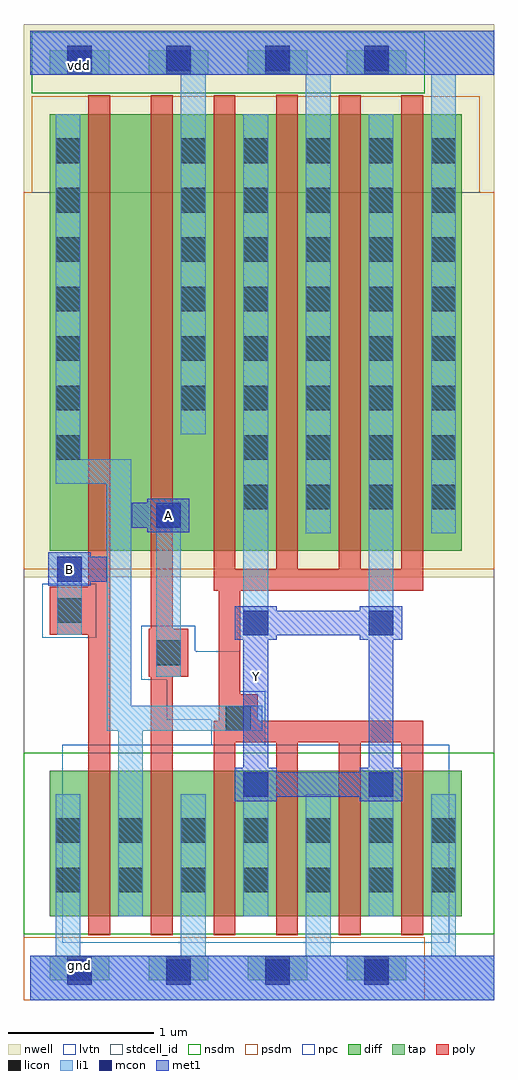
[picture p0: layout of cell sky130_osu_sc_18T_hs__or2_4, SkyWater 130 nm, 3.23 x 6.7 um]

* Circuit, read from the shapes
.subckt sky130_osu_sc_18T_hs__or2_4 A B Y gnd vdd
XM1 n1 B gnd gnd sky130_fd_pr__nfet_01v8_lvt w=1 l=0.15
XM2 gnd A n1 gnd sky130_fd_pr__nfet_01v8_lvt w=1 l=0.15
XM3 Y n1 gnd gnd sky130_fd_pr__nfet_01v8_lvt w=1 l=0.15 m=4
XM4 n2 B n1 vdd sky130_fd_pr__pfet_01v8 w=3 l=0.15
XM5 vdd A n2 vdd sky130_fd_pr__pfet_01v8 w=3 l=0.15
XM6 Y n1 vdd vdd sky130_fd_pr__pfet_01v8 w=3 l=0.15 m=4
.ends

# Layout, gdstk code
import gdstk
lib = gdstk.Library(unit=1e-6, precision=1e-09)
def R(c, l, rs):  # rectangles x0, y0, x1, y1
    for r in rs: c.add(gdstk.rectangle(r[:2], r[2:], *l))
def A(c, l, x, y, w, h, nx, ny, dx, dy):  # array of equal rectangles
    R(c, l, [(x+i*dx, y+j*dy, x+i*dx+w, y+j*dy+h) for i in range(nx) for j in range(ny)])
nwell = (64, 20)
diff = (65, 20)
tap = (65, 44)
poly = (66, 20)
licon = (66, 44)
li1 = (67, 20)
mcon = (67, 44)
met1 = (68, 20)
stdcell_id = (81, 4)
nsdm = (93, 44)
psdm = (94, 20)
npc = (95, 20)
lvtn = (125, 44)

sky130_osu_sc_18t_hs__or = lib.new_cell('sky130_osu_sc_18T_hs__or2_4')
R(sky130_osu_sc_18t_hs__or, nwell, [(-0.045,2.905,3.19,6.705)])
R(sky130_osu_sc_18t_hs__or, diff, [(0.135,0.575,2.965,1.575), (0.135,3.085,2.965,6.085)])
A(sky130_osu_sc_18t_hs__or, tap, 0.135, 0.135, 0.41, 0.17, 4, 2, 0.68, 6.22)
A(sky130_osu_sc_18t_hs__or, poly, 1.26, 0.445, 0.15, 1.325, 4, 1, 0.43, 0)
R(sky130_osu_sc_18t_hs__or, poly, [(0.4,0.445,0.55,2.51), (0.83,0.445,0.98,2.22), (1.26,1.77,2.7,1.92), (1.295,1.92,1.565,2.1), (1.295,2.1,1.445,2.81), (0.815,2.22,1.085,2.55), (0.135,2.51,0.55,2.84), (0.83,2.55,0.98,6.215), (1.26,2.81,2.7,2.96), (0.4,2.84,0.55,6.215), (1.26,2.96,1.41,6.215), (1.69,2.96,1.84,6.22), (2.12,2.96,2.27,6.215), (2.55,2.96,2.7,6.215)])
A(sky130_osu_sc_18t_hs__or, licon, 0.255, 0.135, 0.17, 0.17, 4, 2, 0.68, 6.22)
A(sky130_osu_sc_18t_hs__or, licon, 0.175, 0.74, 0.17, 0.17, 7, 2, 0.43, 0.34)
A(sky130_osu_sc_18t_hs__or, licon, 1.465, 3.37, 0.17, 0.17, 4, 2, 0.43, 0.34)
A(sky130_osu_sc_18t_hs__or, licon, 0.175, 3.71, 0.17, 0.17, 1, 7, 0, 0.34)
A(sky130_osu_sc_18t_hs__or, licon, 1.035, 4.05, 0.17, 0.17, 5, 6, 0.43, 0.34)
R(sky130_osu_sc_18t_hs__or, licon, [(1.345,1.85,1.515,2.02), (0.865,2.3,1.035,2.47), (0.185,2.59,0.355,2.76)])
A(sky130_osu_sc_18t_hs__or, li1, 0.175, 0.305, 0.17, 1.11, 4, 1, 0.86, 0)
R(sky130_osu_sc_18t_hs__or, li1, [(0,0,3.19,0.305), (0.605,0.575,0.775,1.85), (1.465,0.575,1.635,1.565), (2.325,0.575,2.495,1.565), (0.525,1.85,1.595,2.02), (0.525,2.02,0.695,3.545), (0.865,2.22,1.035,3.415), (1.465,2.505,1.635,6.085), (2.325,2.505,2.495,6.085), (0.185,2.51,0.355,3.045), (1.895,3.205,2.065,6.355), (2.755,3.205,2.925,6.355), (0.175,3.545,0.695,3.715), (0.175,3.715,0.345,6.085), (1.035,3.885,1.205,6.355), (0,6.355,3.19,6.66)])
A(sky130_osu_sc_18t_hs__or, mcon, 0.255, 0.105, 0.17, 0.17, 4, 2, 0.68, 6.28)
R(sky130_osu_sc_18t_hs__or, mcon, [(1.465,1.395,1.635,1.565), (2.325,1.395,2.495,1.565), (1.465,2.505,1.635,2.675), (2.325,2.505,2.495,2.675), (0.185,2.875,0.355,3.045), (0.865,3.245,1.035,3.415)])
R(sky130_osu_sc_18t_hs__or, met1, [(0,0,3.19,0.305), (1.405,1.365,1.695,1.395), (2.265,1.365,2.555,1.395), (1.405,1.395,2.555,1.565), (1.405,1.565,1.695,1.595), (2.265,1.565,2.555,1.595), (1.465,1.595,1.635,2.475), (2.325,1.595,2.495,2.475), (1.405,2.475,1.695,2.505), (2.265,2.475,2.555,2.505), (1.405,2.505,2.555,2.675), (1.405,2.675,1.695,2.705), (2.265,2.675,2.555,2.705), (0.125,2.845,0.415,2.875), (0.125,2.875,0.525,3.045), (0.125,3.045,0.415,3.075), (0.805,3.215,1.095,3.245), (0.7,3.245,1.095,3.415), (0.805,3.415,1.095,3.445), (0,6.355,3.19,6.66)])
R(sky130_osu_sc_18t_hs__or, stdcell_id, [(-0.045,0,3.19,5.55)])
R(sky130_osu_sc_18t_hs__or, nsdm, [(-0.045,0.45,3.19,1.7), (0.01,6.23,2.71,6.65)])
R(sky130_osu_sc_18t_hs__or, psdm, [(-0.045,0,2.71,0.43), (-0.045,2.96,3.19,5.55), (0.01,5.55,3.09,6.21)])
R(sky130_osu_sc_18t_hs__or, npc, [(1.245,1.75,1.615,1.925), (0.94,1.925,1.615,2.12), (0.94,2.12,1.44,2.2), (0.765,2.2,1.44,2.395), (0.765,2.395,1.135,2.57), (0.085,2.49,0.455,2.86)])
R(sky130_osu_sc_18t_hs__or, lvtn, [(0.22,0.395,2.88,1.755)])
sky130_osu_sc_18t_hs__or.add(gdstk.Label('gnd', (0.34,0.24), layer=68, texttype=16))
sky130_osu_sc_18t_hs__or.add(gdstk.Label('vdd', (0.34,6.42), layer=68, texttype=16))
sky130_osu_sc_18t_hs__or.add(gdstk.Label('Y', (1.555,2.22), layer=68, texttype=5))
sky130_osu_sc_18t_hs__or.add(gdstk.Label('A', (0.95,3.33), layer=68, texttype=5))
sky130_osu_sc_18t_hs__or.add(gdstk.Label('B', (0.27,2.96), layer=68, texttype=5))

lib.write_gds('sky130_osu_sc_18T_hs__or2_4.gds')
